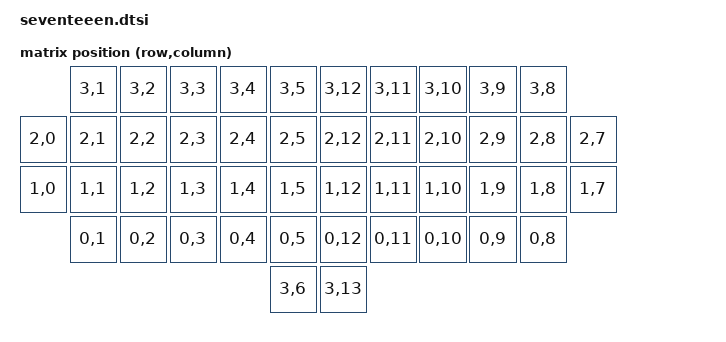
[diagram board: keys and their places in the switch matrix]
#include <dt-bindings/zmk/matrix_transform.h>

/ {
    chosen {
        zmk,kscan = &kscan0;
        zmk,physical-layout = &physical_layout0;
    };

    kscan0: kscan {
        compatible = "zmk,kscan-gpio-matrix";
        diode-direction = "col2row";
        wakeup-source;
    };

    physical_layout0: physical_layout_0 {
        compatible = "zmk,physical-layout";
        display-name = "Default Layout";
        transform = <&default_transform>;
    };

    default_transform: keymap_transform0 {
        compatible = "zmk,matrix-transform";
        columns = <14>;
        rows = <4>;
        map = <
            RC(3,1) RC(3,2) RC(3,3) RC(3,4) RC(3,5)  RC(3,12) RC(3,11) RC(3,10) RC(3,9) RC(3,8)
    RC(2,0) RC(2,1) RC(2,2) RC(2,3) RC(2,4) RC(2,5)  RC(2,12) RC(2,11) RC(2,10) RC(2,9) RC(2,8) RC(2,7)
    RC(1,0) RC(1,1) RC(1,2) RC(1,3) RC(1,4) RC(1,5)  RC(1,12) RC(1,11) RC(1,10) RC(1,9) RC(1,8) RC(1,7)
            RC(0,1) RC(0,2) RC(0,3) RC(0,4) RC(0,5)  RC(0,12) RC(0,11) RC(0,10) RC(0,9) RC(0,8)
                                            RC(3,6)  RC(3,13)
        >;
    };

    aliases {
        led-red = &led0;
        led-green = &led1;
        led-blue = &led2;
    };

    leds {
        compatible = "gpio-leds";
        status = "okay";
        led0: led_0 {
            gpios = <&gpio0 26 GPIO_ACTIVE_LOW>;  // red LED, connected to P0.26
        };
        led1: led_1 {
            gpios = <&gpio0 30 GPIO_ACTIVE_LOW>;  // green LED, connected to P0.30
        };
        led2: led_2 {
            gpios = <&gpio0 6 GPIO_ACTIVE_LOW>;  // blue LED, connected to P0.06
        };
    };
};
